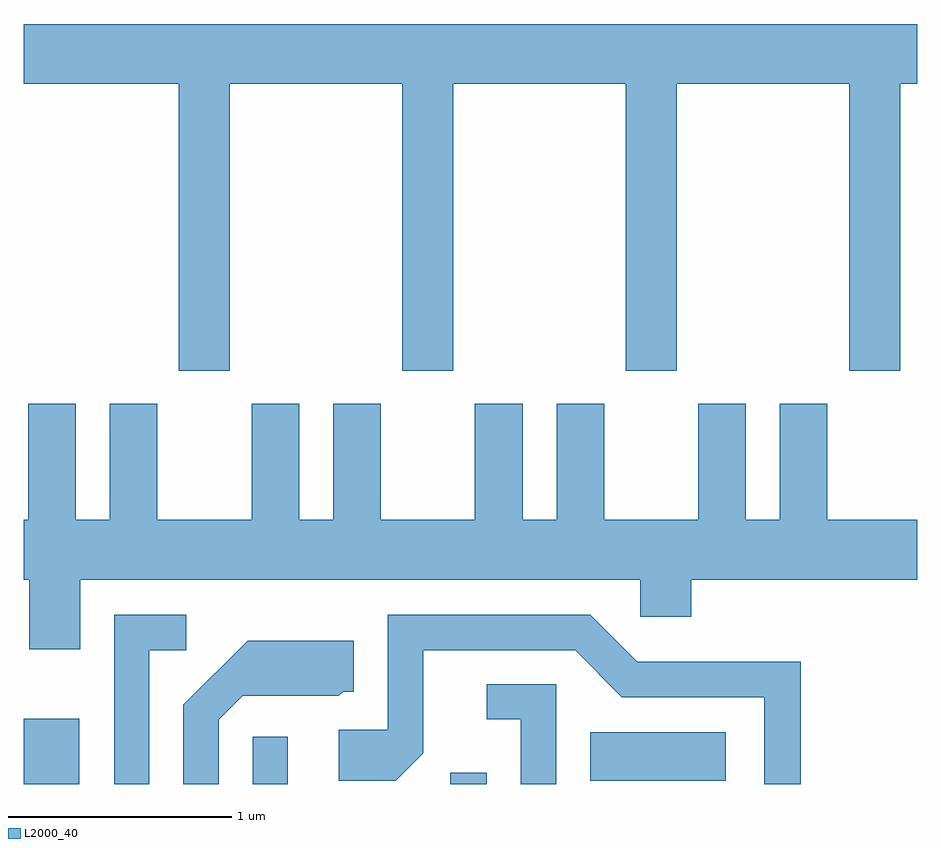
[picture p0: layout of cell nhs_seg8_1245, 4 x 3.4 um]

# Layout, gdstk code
import gdstk
lib = gdstk.Library(unit=1e-6, precision=1e-09)
def R(c, l, rs):  # rectangles x0, y0, x1, y1
    for r in rs: c.add(gdstk.rectangle(r[:2], r[2:], *l))
def P(c, l, *ps):  # polygons
    for p in ps: c.add(gdstk.Polygon(p, *l))
L2000_40 = (2000, 40)

nhs_seg8_1245 = lib.new_cell('nhs_seg8_1245')
R(nhs_seg8_1245, L2000_40, [(221.611,1884.342,221.859,1884.634), (222.636,1884.342,222.794,1884.553), (223.521,1884.342,223.684,1884.393), (224.146,1884.356,224.754,1884.574)])
P(nhs_seg8_1245, L2000_40, [(222.534,1887.476),(223.306,1887.476),(223.306,1886.191),(223.534,1886.191),(223.534,1887.476),(224.306,1887.476),(224.306,1886.191),(224.534,1886.191),(224.534,1887.476),(225.306,1887.476),(225.306,1886.191),(225.534,1886.191),(225.534,1887.476),(225.611,1887.476),(225.611,1887.744),(221.611,1887.744),(221.611,1887.476),(222.306,1887.476),(222.306,1886.191),(222.534,1886.191)],
  [(221.631,1885.524),(221.611,1885.524),(221.611,1885.256),(221.636,1885.256),(221.636,1884.946),(221.864,1884.946),(221.864,1885.256),(224.371,1885.256),(224.371,1885.091),(224.599,1885.091),(224.599,1885.256),(225.611,1885.256),(225.611,1885.524),(225.209,1885.524),(225.209,1886.044),(224.996,1886.044),(224.996,1885.524),(224.844,1885.524),(224.844,1886.044),(224.631,1886.044),(224.631,1885.524),(224.209,1885.524),(224.209,1886.044),(223.996,1886.044),(223.996,1885.524),(223.844,1885.524),(223.844,1886.044),(223.631,1886.044),(223.631,1885.524),(223.209,1885.524),(223.209,1886.044),(222.996,1886.044),(222.996,1885.524),(222.844,1885.524),(222.844,1886.044),(222.631,1886.044),(222.631,1885.524),(222.209,1885.524),(222.209,1886.044),(221.996,1886.044),(221.996,1885.524),(221.844,1885.524),(221.844,1886.044),(221.631,1886.044)],
  [(225.089,1884.889),(224.357,1884.889),(224.147,1885.099),(223.241,1885.099),(223.241,1884.584),(223.021,1884.584),(223.021,1884.356),(223.277,1884.356),(223.399,1884.479),(223.399,1884.941),(224.079,1884.941),(224.289,1884.731),(224.926,1884.731),(224.926,1884.342),(225.089,1884.342)],
  [(222.174,1884.941),(222.338,1884.941),(222.338,1885.099),(222.016,1885.099),(222.016,1884.342),(222.174,1884.342)],
  [(222.484,1884.629),(222.592,1884.736),(223.022,1884.736),(223.042,1884.756),(223.089,1884.756),(223.089,1884.984),(222.614,1884.984),(222.326,1884.697),(222.326,1884.342),(222.484,1884.342)],
  [(223.994,1884.789),(223.683,1884.789),(223.683,1884.631),(223.836,1884.631),(223.836,1884.342),(223.994,1884.342)])

lib.write_gds('nhs_seg8_1245.gds')
